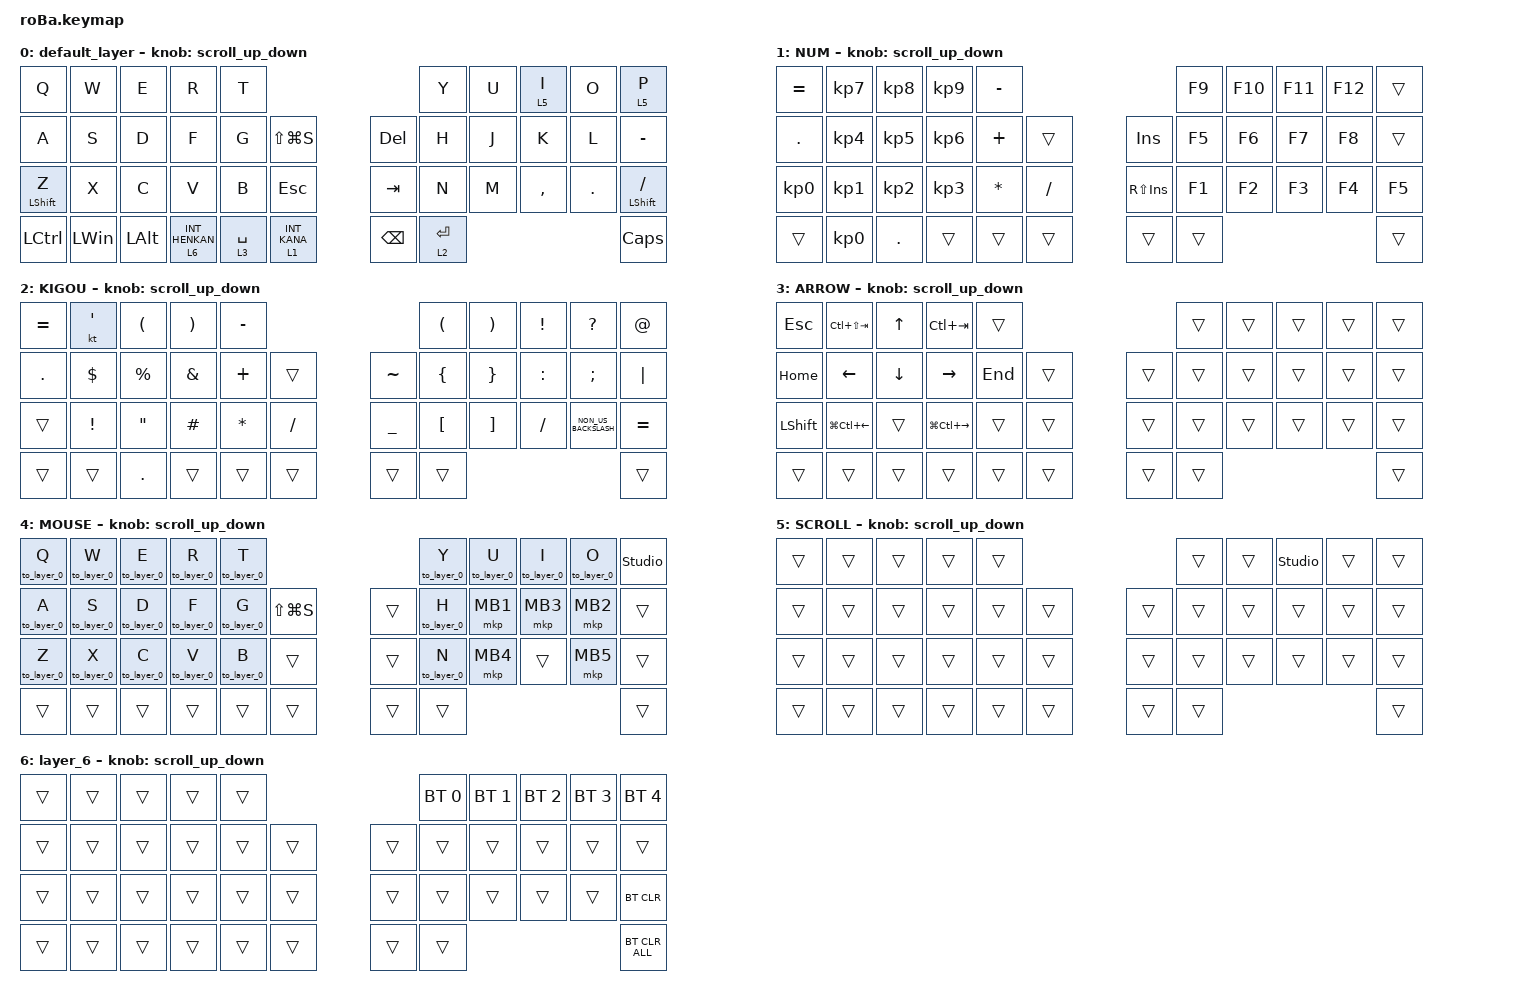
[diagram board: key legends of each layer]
#include <behaviors.dtsi>
#include <dt-bindings/zmk/bt.h>
#include <dt-bindings/zmk/keys.h>
#include <dt-bindings/zmk/pointing.h>

#define ZMK_POINTING_DEFAULT_SCRL_VAL 100

&mt {
    flavor = "balanced";
    quick-tap-ms = <0>;
};

&sl { release-after-ms = <3000>; };

&trackball {
    automouse-layer = <4>;
    scroll-layers = <5>;
};

/ {
    behaviors {
        scroll_up_down: behavior_sensor_rotate_mouse_wheel_up_down {
            compatible = "zmk,behavior-sensor-rotate";
            #sensor-binding-cells = <0>;
            bindings = <&msc SCRL_DOWN>, <&msc SCRL_UP>;

            tap-ms = <20>;
        };
    };

    combos { compatible = "zmk,combos"; };

    macros {
        to_layer_0: to_layer_0 {
            compatible = "zmk,behavior-macro-one-param";
            #binding-cells = <1>;
            bindings = <&to 0 &macro_param_1to1 &kp MACRO_PLACEHOLDER>;
            label = "TO_LAYER_0";
        };
    };

    behaviors {
        lt_to_layer_0: lt_to_layer_0 {
            compatible = "zmk,behavior-hold-tap";
            label = "LAYER_TAP_TO_0";
            bindings = <&mo>, <&to_layer_0>;

            #binding-cells = <2>;
            tapping-term-ms = <200>;
        };
    };

    keymap {
        compatible = "zmk,keymap";

        default_layer {
            bindings = <
&kp Q             &kp W         &kp E         &kp R                        &kp T                                                      &kp Y        &kp U  &lt 5 I    &kp O    &lt 5 P
&kp A             &kp S         &kp D         &kp F                        &kp G        &kp LS(LG(S))                  &kp DEL        &kp H        &kp J  &kp K      &kp L    &kp MINUS
&mt LEFT_SHIFT Z  &kp X         &kp C         &kp V                        &kp B        &kp ESCAPE                     &kp TAB        &kp N        &kp M  &kp COMMA  &kp DOT  &mt LEFT_SHIFT SLASH
&kp LCTRL         &kp LEFT_WIN  &kp LEFT_ALT  &lt_to_layer_0 6 INT_HENKAN  &lt 3 SPACE  &lt_to_layer_0 1 INT_KANA      &kp BACKSPACE  &lt 2 ENTER                             &kp CAPS
            >;

            sensor-bindings = <&scroll_up_down>;
        };

        NUM {
            bindings = <
&kp EQUAL        &kp KP_NUMBER_7  &kp KP_NUMBER_8  &kp KP_NUMBER_9  &kp MINUS                                 &kp F9  &kp F10  &kp F11  &kp F12  &trans
&kp PERIOD       &kp KP_NUMBER_4  &kp KP_NUMBER_5  &kp KP_NUMBER_6  &kp PLUS      &trans         &kp INS      &kp F5  &kp F6   &kp F7   &kp F8   &trans
&kp KP_NUMBER_0  &kp KP_NUMBER_1  &kp KP_NUMBER_2  &kp KP_NUMBER_3  &kp ASTERISK  &kp SLASH      &kp RS(INS)  &kp F1  &kp F2   &kp F3   &kp F4   &kp F5
&trans           &kp KP_NUMBER_0  &kp PERIOD       &trans           &trans        &trans         &trans       &trans                             &trans
            >;

            sensor-bindings = <&scroll_up_down>;
        };

        KIGOU {
            bindings = <
&kp EQUAL   &kt SQT          &kp LEFT_PARENTHESIS  &kp RIGHT_PARENTHESIS  &kp MINUS                                    &kp LEFT_PARENTHESIS  &kp RIGHT_PARENTHESIS  &kp EXCLAMATION  &kp QUESTION          &kp AT_SIGN
&kp PERIOD  &kp DOLLAR       &kp PERCENT           &kp AMPERSAND          &kp PLUS      &trans         &kp TILDE       &kp LEFT_BRACE        &kp RIGHT_BRACE        &kp COLON        &kp SEMICOLON         &kp PIPE
&trans      &kp EXCLAMATION  &kp DOUBLE_QUOTES     &kp HASH               &kp ASTERISK  &kp SLASH      &kp UNDERSCORE  &kp LEFT_BRACKET      &kp RIGHT_BRACKET      &kp SLASH        &kp NON_US_BACKSLASH  &kp EQUAL
&trans      &trans           &kp PERIOD            &trans                 &trans        &trans         &trans          &trans                                                                              &trans
            >;

            sensor-bindings = <&scroll_up_down>;
        };

        ARROW {
            bindings = <
&kp ESCAPE      &kp LC(LS(TAB))         &kp UP_ARROW    &kp LC(TAB)              &trans                       &trans  &trans  &trans  &trans  &trans
&kp HOME        &kp LEFT_ARROW          &kp DOWN_ARROW  &kp RIGHT_ARROW          &kp END  &trans      &trans  &trans  &trans  &trans  &trans  &trans
&kp LEFT_SHIFT  &kp LG(LC(LEFT_ARROW))  &trans          &kp LG(LC(RIGHT_ARROW))  &trans   &trans      &trans  &trans  &trans  &trans  &trans  &trans
&trans          &trans                  &trans          &trans                   &trans   &trans      &trans  &trans                          &trans
            >;

            sensor-bindings = <&scroll_up_down>;
        };

        MOUSE {
            bindings = <
&to_layer_0 Q  &to_layer_0 W  &to_layer_0 E  &to_layer_0 R  &to_layer_0 T                             &to_layer_0 Y  &to_layer_0 U  &to_layer_0 I  &to_layer_0 O  &studio_unlock
&to_layer_0 A  &to_layer_0 S  &to_layer_0 D  &to_layer_0 F  &to_layer_0 G  &kp LS(LG(S))      &trans  &to_layer_0 H  &mkp MB1       &mkp MB3       &mkp MB2       &trans
&to_layer_0 Z  &to_layer_0 X  &to_layer_0 C  &to_layer_0 V  &to_layer_0 B  &trans             &trans  &to_layer_0 N  &mkp MB4       &trans         &mkp MB5       &trans
&trans         &trans         &trans         &trans         &trans         &trans             &trans  &trans                                                      &trans
            >;

            sensor-bindings = <&scroll_up_down>;
        };

        SCROLL {
            bindings = <
&trans  &trans  &trans  &trans  &trans                      &trans  &trans  &studio_unlock  &trans  &trans
&trans  &trans  &trans  &trans  &trans  &trans      &trans  &trans  &trans  &trans          &trans  &trans
&trans  &trans  &trans  &trans  &trans  &trans      &trans  &trans  &trans  &trans          &trans  &trans
&trans  &trans  &trans  &trans  &trans  &trans      &trans  &trans                                  &trans
            >;

            sensor-bindings = <&scroll_up_down>;
        };

        layer_6 {
            bindings = <
&trans  &trans  &trans  &trans  &trans                      &bt BT_SEL 0  &bt BT_SEL 1  &bt BT_SEL 2  &bt BT_SEL 3  &bt BT_SEL 4
&trans  &trans  &trans  &trans  &trans  &trans      &trans  &trans        &trans        &trans        &trans        &trans
&trans  &trans  &trans  &trans  &trans  &trans      &trans  &trans        &trans        &trans        &trans        &bt BT_CLR
&trans  &trans  &trans  &trans  &trans  &trans      &trans  &trans                                                  &bt BT_CLR_ALL
            >;

            sensor-bindings = <&scroll_up_down>;
        };
    };
};
